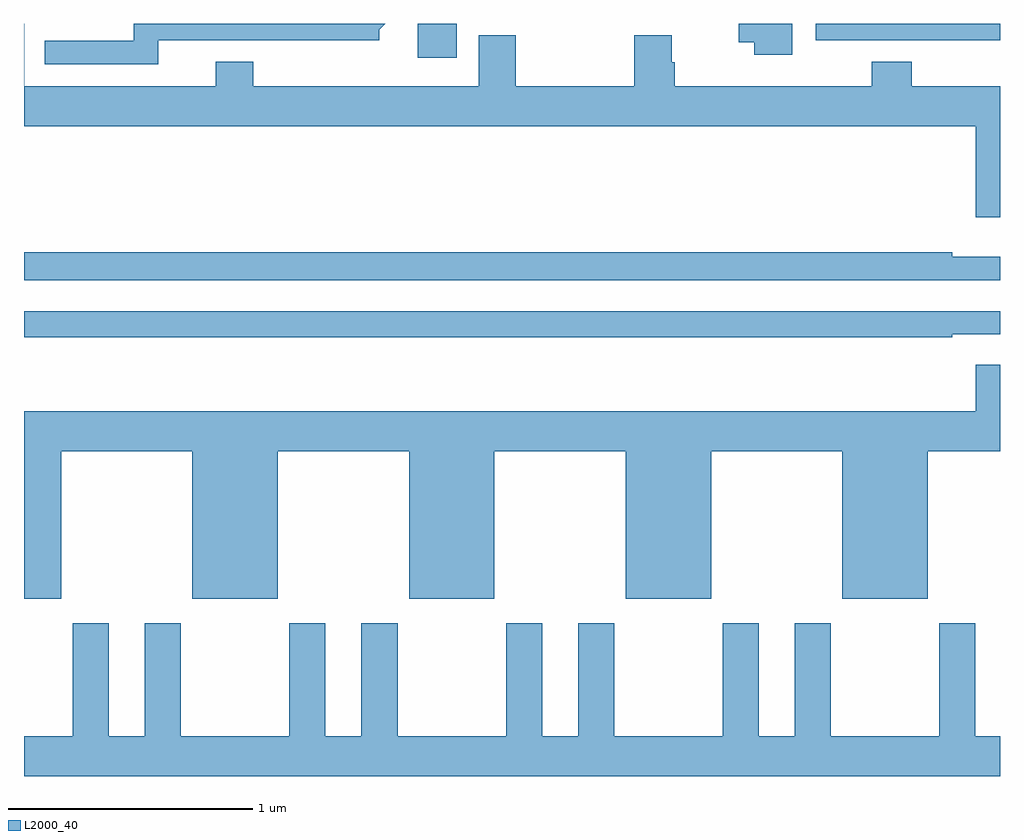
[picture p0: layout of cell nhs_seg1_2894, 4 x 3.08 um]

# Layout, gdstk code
import gdstk
lib = gdstk.Library(unit=1e-6, precision=1e-09)
def R(c, l, rs):  # rectangles x0, y0, x1, y1
    for r in rs: c.add(gdstk.rectangle(r[:2], r[2:], *l))
def P(c, l, *ps):  # polygons
    for p in ps: c.add(gdstk.Polygon(p, *l))
L2000_40 = (2000, 40)

nhs_seg1_2894 = lib.new_cell('nhs_seg1_2894')
R(nhs_seg1_2894, L2000_40, [(270.613,504.06,270.774,504.199)])
P(nhs_seg1_2894, L2000_40, [(273,504.199),(272.244,504.199),(272.244,504.132),(272.722,504.132),(272.722,504.131),(273,504.131)],
  [(269.55,504.132),(270.022,504.132),(270.022,504.131),(270.456,504.131),(270.456,504.175),(270.48,504.199),(269.45,504.199),(269.45,504.129),(269.086,504.129),(269.086,504.033),(269.55,504.033)],
  [(273,503.944),(272.639,503.944),(272.639,504.043),(272.474,504.043),(272.474,503.944),(271.667,503.944),(271.667,504.042),(271.654,504.042),(271.654,504.152),(271.502,504.152),(271.502,503.944),(271.016,503.944),(271.016,504.152),(270.863,504.152),(270.863,503.944),(269.939,503.944),(269.939,504.043),(269.786,504.043),(269.786,503.944),(269.001,503.944),(269.001,504.199),(269,504.199),(269,503.78),(272.9,503.78),(272.9,503.406),(273,503.406)],
  [(272.149,504.199),(271.93,504.199),(271.93,504.123),(271.993,504.123),(271.993,504.072),(272.149,504.072)],
  [(273,503.245),(272.804,503.245),(272.804,503.264),(269,503.264),(269,503.148),(273,503.148)],
  [(272.804,502.926),(273,502.926),(273,503.022),(269,503.022),(269,502.914),(272.804,502.914)],
  [(269.152,502.448),(269.69,502.448),(269.69,501.842),(270.04,501.842),(270.04,502.448),(270.578,502.448),(270.578,501.842),(270.928,501.842),(270.928,502.448),(271.466,502.448),(271.466,501.842),(271.816,501.842),(271.816,502.448),(272.354,502.448),(272.354,501.842),(272.704,501.842),(272.704,502.448),(273,502.448),(273,502.801),(272.9,502.801),(272.9,502.612),(269,502.612),(269,501.842),(269.152,501.842)],
  [(273,501.28),(272.899,501.28),(272.899,501.742),(272.752,501.742),(272.752,501.28),(272.307,501.28),(272.307,501.742),(272.159,501.742),(272.159,501.28),(272.011,501.28),(272.011,501.742),(271.864,501.742),(271.864,501.28),(271.419,501.28),(271.419,501.742),(271.271,501.742),(271.271,501.28),(271.123,501.28),(271.123,501.742),(270.976,501.742),(270.976,501.28),(270.531,501.28),(270.531,501.742),(270.383,501.742),(270.383,501.28),(270.235,501.28),(270.235,501.742),(270.088,501.742),(270.088,501.28),(269.643,501.28),(269.643,501.742),(269.495,501.742),(269.495,501.28),(269.347,501.28),(269.347,501.742),(269.2,501.742),(269.2,501.28),(269,501.28),(269,501.116),(273,501.116)])

lib.write_gds('nhs_seg1_2894.gds')
